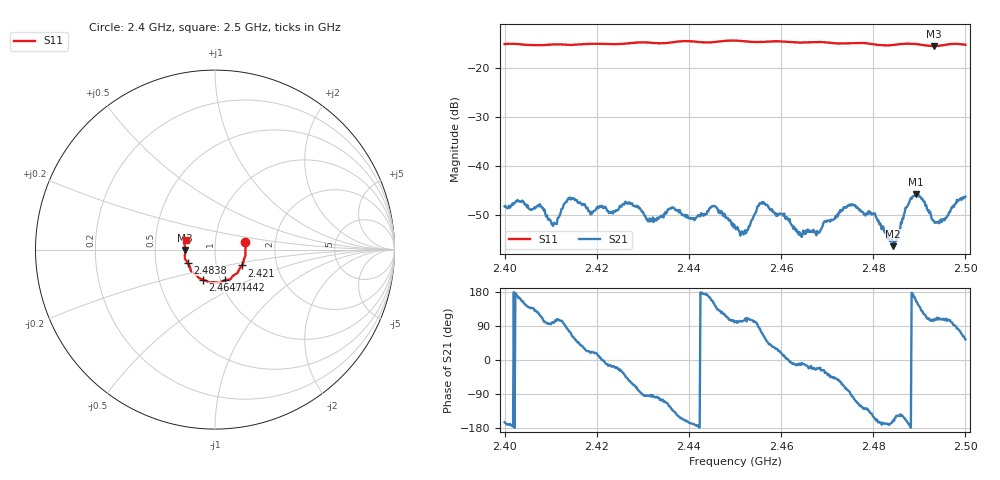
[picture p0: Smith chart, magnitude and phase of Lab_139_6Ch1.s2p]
# Hz S RI R 50
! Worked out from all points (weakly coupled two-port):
!   601 points, 2.4 GHz to 2.5 GHz, reference 50 ohm
!   highest |S21| = -45.65 dB at 2.4893 GHz (marker M1); lowest = -56.3 dB at 2.4843 GHz (marker M2)
!   lowest |S11| = -15.6 dB at 2.4932 GHz (marker M3), VSWR 1.40, Z = 35.8 - j0.0961 ohm
!   |S11| at or under -10 dB: start of sweep to end of sweep
!   S12 and S22 are empty: the file has one direction only
!   S11 on the Smith chart (normalised r, x): 2.4 GHz: 1.40, +0.12; 2.421 GHz: 1.33, -0.24; 2.4442 GHz: 1.05, -0.37; 2.4647 GHz: 0.83, -0.29; 2.4838 GHz: 0.73, -0.11; 2.5 GHz: 0.72, +0.08
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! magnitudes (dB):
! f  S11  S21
! 2.4 GHz  -15.2  -48.2
! 2.4077 GHz  -15.4  -47.8
! 2.4108 GHz  -15.3  -51.6
! 2.4137 GHz  -15.4  -46.8
! 2.4167 GHz  -15.3  -47.7
! 2.421 GHz  -15.2  -48.1
! 2.4267 GHz  -15.1  -47.6
! 2.4333 GHz  -15.1  -50.7
! 2.4442 GHz  -14.9  -49.2
! 2.45 GHz  -14.5  -52.5
! 2.4523 GHz  -14.7  -53.7
! 2.456 GHz  -14.8  -47.7
! 2.4647 GHz  -14.9  -53.7
! 2.4667 GHz  -14.8  -53.3
! 2.4755 GHz  -15.0  -47.8
! 2.4803 GHz  -15.3  -49.6
! 2.4833 GHz  -15.5  -54.7
! 2.4838 GHz  -15.4  -54.9
! 2.4843 GHz  -15.4  -56.3
! 2.4893 GHz  -15.2  -45.6
! 2.4932 GHz  -15.6  -51.2
! 2.5 GHz  -15.3  -46.2
